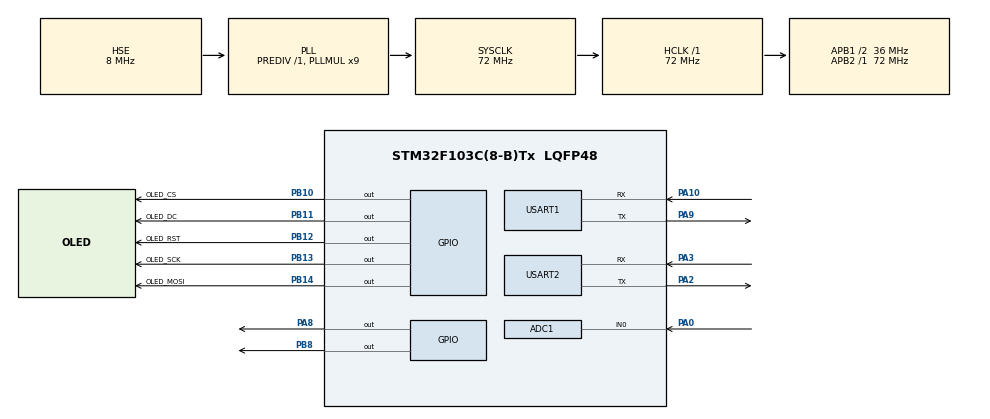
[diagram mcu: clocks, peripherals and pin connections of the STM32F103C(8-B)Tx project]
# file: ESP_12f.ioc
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ADC1.Channel-0\#ChannelRegularConversion=ADC_CHANNEL_0
ADC1.NbrOfConversionFlag=1
ADC1.Rank-0\#ChannelRegularConversion=1
ADC1.SamplingTime-0\#ChannelRegularConversion=ADC_SAMPLETIME_1CYCLE_5
ADC1.master=1
Mcu.Family=STM32F1
Mcu.Name=STM32F103C(8-B)Tx
Mcu.Package=LQFP48
NVIC.ADC1_2_IRQn=true\:0\:0\:false\:false\:true\:true\:true\:true
NVIC.PriorityGroup=NVIC_PRIORITYGROUP_4
NVIC.USART1_IRQn=true\:0\:0\:false\:false\:true\:true\:true\:true
NVIC.USART2_IRQn=true\:0\:0\:false\:false\:true\:true\:true\:true
PA0-WKUP.Signal=ADCx_IN0
PA10.Mode=Asynchronous
PA10.Signal=USART1_RX
PA13.Mode=Serial_Wire
PA13.Signal=SYS_JTMS-SWDIO
PA14.Mode=Serial_Wire
PA14.Signal=SYS_JTCK-SWCLK
PA2.Mode=Asynchronous
PA2.Signal=USART2_TX
PA3.Mode=Asynchronous
PA3.Signal=USART2_RX
PA8.GPIO_Speed=GPIO_SPEED_FREQ_HIGH
PA8.PinState=GPIO_PIN_RESET
PA8.Signal=GPIO_Output
PA9.Mode=Asynchronous
PA9.Signal=USART1_TX
PB10.GPIO_Label=OLED_CS
PB10.GPIO_Speed=GPIO_SPEED_FREQ_HIGH
PB10.PinState=GPIO_PIN_SET
PB10.Signal=GPIO_Output
PB11.GPIO_Label=OLED_DC
PB11.GPIO_Speed=GPIO_SPEED_FREQ_HIGH
PB11.PinState=GPIO_PIN_SET
PB11.Signal=GPIO_Output
PB12.GPIO_Label=OLED_RST
PB12.GPIO_Speed=GPIO_SPEED_FREQ_HIGH
PB12.PinState=GPIO_PIN_SET
PB12.Signal=GPIO_Output
PB13.GPIO_Label=OLED_SCK
PB13.GPIO_Speed=GPIO_SPEED_FREQ_HIGH
PB13.PinState=GPIO_PIN_SET
PB13.Signal=GPIO_Output
PB14.GPIO_Label=OLED_MOSI
PB14.GPIO_Speed=GPIO_SPEED_FREQ_HIGH
PB14.PinState=GPIO_PIN_SET
PB14.Signal=GPIO_Output
PB8.GPIO_Speed=GPIO_SPEED_FREQ_LOW
PB8.PinState=GPIO_PIN_SET
PB8.Signal=GPIO_Output
PD0-OSC_IN.Mode=HSE-External-Oscillator
PD0-OSC_IN.Signal=RCC_OSC_IN
PD1-OSC_OUT.Mode=HSE-External-Oscillator
PD1-OSC_OUT.Signal=RCC_OSC_OUT
ProjectManager.HeapSize=0x200
ProjectManager.StackSize=0x400
ProjectManager.TargetToolchain=Makefile
RCC.ADCPresc=RCC_ADCPCLK2_DIV6
RCC.AHBFreq_Value=72000000
RCC.APB1CLKDivider=RCC_HCLK_DIV2
RCC.APB1Freq_Value=36000000
RCC.APB1TimFreq_Value=72000000
RCC.APB2Freq_Value=72000000
RCC.APB2TimFreq_Value=72000000
RCC.HCLKFreq_Value=72000000
RCC.PLLMUL=RCC_PLL_MUL9
RCC.PLLSourceVirtual=RCC_PLLSOURCE_HSE
RCC.SYSCLKFreq_VALUE=72000000
RCC.SYSCLKSource=RCC_SYSCLKSOURCE_PLLCLK
RCC.USBFreq_Value=72000000
SH.ADCx_IN0.0=ADC1_IN0,IN0
USART1.VirtualMode=VM_ASYNC
USART2.VirtualMode=VM_ASYNC
board=custom

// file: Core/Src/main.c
/* USER CODE BEGIN Header */
/**
  ******************************************************************************
  * @file           : main.c
  * @brief          : Main program body
  ******************************************************************************
  * @attention
  *
  * Copyright (c) 2026 STMicroelectronics.
  * All rights reserved.
  *
  * This software is licensed under terms that can be found in the LICENSE file
  * in the root directory of this software component.
  * If no LICENSE file comes with this software, it is provided AS-IS.
  *
  ******************************************************************************
  */
/* USER CODE END Header */
#include "main.h"
#include "adc.h"
#include "usart.h"
#include "gpio.h"

/* USER CODE BEGIN Includes */
#include "esp12f.h"
#include "uart_bridge.h"
#include "oled.h"
#include "app_config.h"
#include <stdio.h>

/* USER CODE END Includes */

/* USER CODE BEGIN PV */
/* 烟雾浓度百分比。
 * Smoke_Task() 会周期性更新该值；主循环把它传给 ESP12F_SetStatus()，
 * OLED 刷新时也直接显示该值。
 */
static uint8_t smoke_percent;

/* USER CODE END PV */

void SystemClock_Config(void);
/* USER CODE BEGIN PFP */
static void Smoke_Init(void);
static void Smoke_Task(void);
/* USER CODE END PFP */

/* USER CODE BEGIN 0 */
/* ADC 校准。
 * STM32F1 ADC 在正式采样前建议执行一次校准，减少零点和增益误差。
 */
static void Smoke_Init(void)
{
  if (HAL_ADCEx_Calibration_Start(&hadc1) != HAL_OK)
  {
    Error_Handler();
  }
}

/* 烟雾传感器采样任务。
 *
 * 该函数采用非阻塞方式运行：
 * - 每 APP_SMOKE_SAMPLE_INTERVAL_MS 启动一次 ADC 转换；
 * - 在 APP_SMOKE_WINDOW_MS 时间窗口内累加采样值；
 * - 窗口结束后计算平均 ADC 值，并换算为 0-100 的相对百分比。
 *
 * PA0 / ADC1_IN0 的 ADC 满量程为 4095。公式中的 +2047 用于四舍五入：
 *   percent = round(average * 100 / 4095)
 */
static void Smoke_Task(void)
{
  static uint32_t sample_tick;
  static uint32_t window_tick;
  static uint32_t sample_sum;
  static uint16_t sample_count;
  uint32_t now = HAL_GetTick();

  if ((now - sample_tick) >= APP_SMOKE_SAMPLE_INTERVAL_MS)
  {
    sample_tick = now;

    /* 单次转换超时时间设置为 2 ms，避免 ADC 异常时长时间卡住主循环。 */
    if ((HAL_ADC_Start(&hadc1) == HAL_OK) &&
        (HAL_ADC_PollForConversion(&hadc1, 2U) == HAL_OK))
    {
      sample_sum += HAL_ADC_GetValue(&hadc1);
      sample_count++;
    }
    HAL_ADC_Stop(&hadc1);
  }

  if ((now - window_tick) >= APP_SMOKE_WINDOW_MS)
  {
    window_tick = now;
    if (sample_count > 0U)
    {
      uint32_t average = sample_sum / sample_count;
      smoke_percent = (uint8_t)((average * 100U + 2047U) / 4095U);
    }
    sample_sum = 0U;
    sample_count = 0U;
  }
}

/* USER CODE END 0 */

int main(void)
{

  /* MCU Configuration--------------------------------------------------------*/

  /* Reset of all peripherals, Initializes the Flash interface and the Systick. */
  HAL_Init();

  /* Configure the system clock */
  SystemClock_Config();

  /* Initialize all configured peripherals */
  MX_GPIO_Init();
  MX_USART1_UART_Init();
  MX_USART2_UART_Init();
  MX_ADC1_Init();
  /* USER CODE BEGIN 2 */
  /* 初始化手写应用模块。
   * UART 桥接先启动接收中断，便于尽早看到 ESP-12F 的启动日志。
   */
  UART_Bridge_Init();
  OLED_Init();
  Smoke_Init();

  /* USER CODE END 2 */

  /* Infinite loop */
  while (1)
  {

    /* USER CODE BEGIN 3 */
    /* 主循环保持短小、快速、非阻塞：
     * UART_Bridge_Task() 搬运串口字节；
     * Smoke_Task() 做定时 ADC 采样；
     * ESP12F_Task() 推进 Wi-Fi/TCP/MQTT 状态机。
     */
    UART_Bridge_Task();
    Smoke_Task();

    /* LED 为低电平有效，蜂鸣器为高电平有效，因此这里把 GPIO 电平转换为逻辑状态。 */
    ESP12F_SetStatus(
        HAL_GPIO_ReadPin(APP_LED_GPIO_PORT, APP_LED_GPIO_PIN) == GPIO_PIN_RESET,
        HAL_GPIO_ReadPin(APP_BUZZER_GPIO_PORT, APP_BUZZER_GPIO_PIN) == GPIO_PIN_SET,
        smoke_percent);
    ESP12F_Task();

    {
      static uint32_t oled_update_tick;

      /* OLED 刷新频率低于主循环频率，避免频繁整屏 SPI 写入影响串口和 MQTT 时序。 */
      if ((HAL_GetTick() - oled_update_tick) >= 250U)
      {
        char line[24];
        oled_update_tick = HAL_GetTick();
        OLED_Clear(OLED_COLOR_BLACK);
        OLED_SetCursor(0U, 0U);
        OLED_WriteString(ESP12F_IsConnected() ? "ESP: CONNECT" : "ESP: WAIT", OLED_COLOR_WHITE);
        OLED_SetCursor(0U, 8U);
        snprintf(line, sizeof(line), "LED: %s", HAL_GPIO_ReadPin(APP_LED_GPIO_PORT, APP_LED_GPIO_PIN) == GPIO_PIN_RESET ? "ON" : "OFF");
        OLED_WriteString(line, OLED_COLOR_WHITE);
        OLED_SetCursor(0U, 16U);
        snprintf(line, sizeof(line), "BEEP: %s", HAL_GPIO_ReadPin(APP_BUZZER_GPIO_PORT, APP_BUZZER_GPIO_PIN) == GPIO_PIN_SET ? "ON" : "OFF");
        OLED_WriteString(line, OLED_COLOR_WHITE);
        OLED_SetCursor(0U, 24U);
        snprintf(line, sizeof(line), "SMOKE: %3u%%", smoke_percent);
        OLED_WriteString(line, OLED_COLOR_WHITE);
        OLED_UpdateScreen();
      }
    }
  }
  /* USER CODE END 3 */
}

void SystemClock_Config(void)
{
  RCC_OscInitTypeDef RCC_OscInitStruct = {0};
  RCC_ClkInitTypeDef RCC_ClkInitStruct = {0};
  RCC_PeriphCLKInitTypeDef PeriphClkInit = {0};

  /** Initializes the RCC Oscillators according to the specified parameters
  * in the RCC_OscInitTypeDef structure.
  */
  RCC_OscInitStruct.OscillatorType = RCC_OSCILLATORTYPE_HSE;
  RCC_OscInitStruct.HSEState = RCC_HSE_ON;
  RCC_OscInitStruct.HSEPredivValue = RCC_HSE_PREDIV_DIV1;
  RCC_OscInitStruct.HSIState = RCC_HSI_ON;
  RCC_OscInitStruct.PLL.PLLState = RCC_PLL_ON;
  RCC_OscInitStruct.PLL.PLLSource = RCC_PLLSOURCE_HSE;
  RCC_OscInitStruct.PLL.PLLMUL = RCC_PLL_MUL9;
  if (HAL_RCC_OscConfig(&RCC_OscInitStruct) != HAL_OK)
  {
    Error_Handler();
  }

  /** Initializes the CPU, AHB and APB buses clocks
  */
  RCC_ClkInitStruct.ClockType = RCC_CLOCKTYPE_HCLK|RCC_CLOCKTYPE_SYSCLK
                              |RCC_CLOCKTYPE_PCLK1|RCC_CLOCKTYPE_PCLK2;
  RCC_ClkInitStruct.SYSCLKSource = RCC_SYSCLKSOURCE_PLLCLK;
  RCC_ClkInitStruct.AHBCLKDivider = RCC_SYSCLK_DIV1;
  RCC_ClkInitStruct.APB1CLKDivider = RCC_HCLK_DIV2;
  RCC_ClkInitStruct.APB2CLKDivider = RCC_HCLK_DIV1;

  if (HAL_RCC_ClockConfig(&RCC_ClkInitStruct, FLASH_LATENCY_2) != HAL_OK)
  {
    Error_Handler();
  }
  PeriphClkInit.PeriphClockSelection = RCC_PERIPHCLK_ADC;
  PeriphClkInit.AdcClockSelection = RCC_ADCPCLK2_DIV6;
  if (HAL_RCCEx_PeriphCLKConfig(&PeriphClkInit) != HAL_OK)
  {
    Error_Handler();
  }
}

void Error_Handler(void)
{
  __disable_irq();
  while (1)
  {
  }
}
